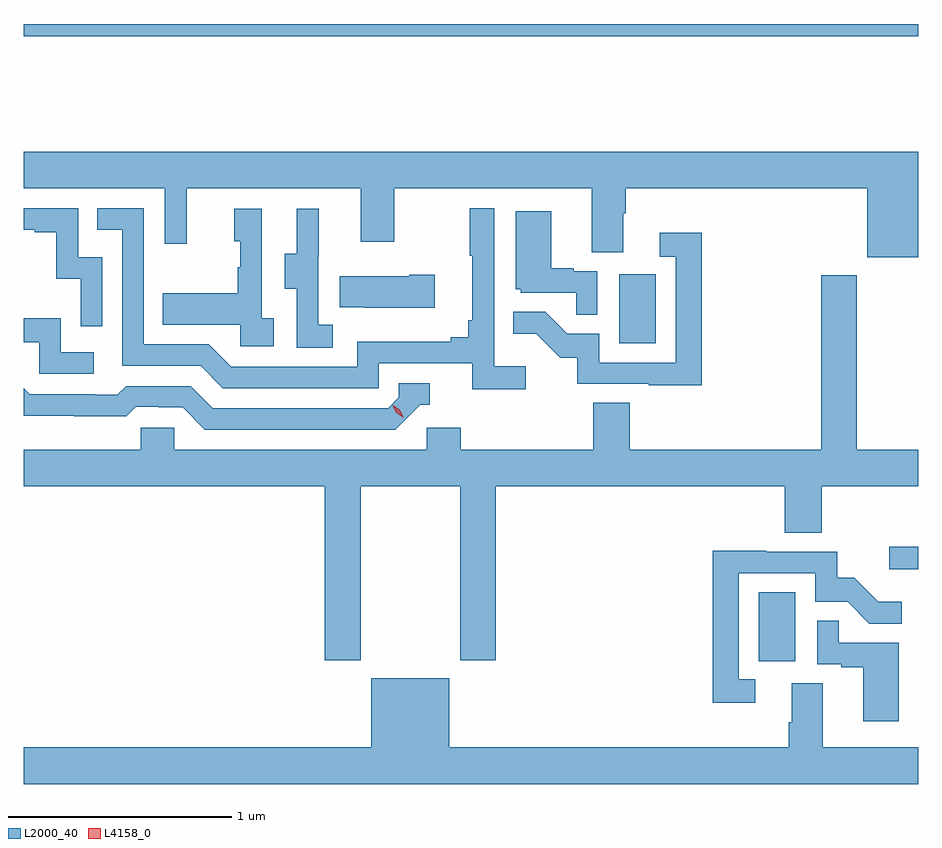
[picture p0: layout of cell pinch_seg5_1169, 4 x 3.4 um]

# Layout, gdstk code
import gdstk
lib = gdstk.Library(unit=1e-6, precision=1e-09)
def R(c, l, rs):  # rectangles x0, y0, x1, y1
    for r in rs: c.add(gdstk.rectangle(r[:2], r[2:], *l))
def P(c, l, *ps):  # polygons
    for p in ps: c.add(gdstk.Polygon(p, *l))
L2000_40 = (2000, 40)
L4158_0 = (4158, 0)

pinch_seg5_1169 = lib.new_cell('pinch_seg5_1169')
R(pinch_seg5_1169, L2000_40, [(858.182,849.318,858.346,849.625), (858.765,849.728,858.895,849.83), (857.558,850.74,857.722,851.047), (854.895,852.112,858.895,852.167)])
P(pinch_seg5_1169, L2000_40, [(858.895,851.596),(854.895,851.596),(854.895,851.432),(855.525,851.432),(855.525,851.184),(855.623,851.184),(855.623,851.432),(856.403,851.432),(856.403,851.193),(856.551,851.193),(856.551,851.432),(857.435,851.432),(857.435,851.146),(857.575,851.146),(857.575,851.32),(857.588,851.32),(857.588,851.432),(858.668,851.432),(858.668,851.123),(858.895,851.123)],
  [(857.14,850.636),(856.998,850.636),(856.998,851.344),(856.89,851.344),(856.89,851.131),(856.901,851.131),(856.901,850.843),(856.882,850.843),(856.882,850.766),(856.805,850.766),(856.805,850.747),(856.386,850.747),(856.386,850.635),(855.822,850.635),(855.723,850.734),(855.432,850.734),(855.432,851.343),(855.223,851.343),(855.223,851.247),(855.336,851.247),(855.336,850.638),(855.686,850.638),(855.785,850.539),(856.482,850.539),(856.482,850.65),(856.901,850.65),(856.901,850.534),(857.14,850.534)],
  [(855.246,851.124),(855.138,851.124),(855.138,851.343),(854.895,851.343),(854.895,851.247),(854.945,851.247),(854.945,851.235),(855.041,851.235),(855.041,851.027),(855.15,851.027),(855.15,850.815),(855.246,850.815)],
  [(856.012,850.85),(855.96,850.85),(855.96,851.341),(855.836,851.341),(855.836,851.196),(855.862,851.196),(855.862,851.078),(855.852,851.078),(855.852,850.963),(855.517,850.963),(855.517,850.823),(855.864,850.823),(855.864,850.725),(856.012,850.725)],
  [(856.276,850.823),(856.212,850.823),(856.212,851.127),(856.214,851.127),(856.214,851.341),(856.115,851.341),(856.115,851.139),(856.061,851.139),(856.061,850.984),(856.116,850.984),(856.116,850.72),(856.276,850.72)],
  [(857.46,851.061),(857.354,851.061),(857.354,851.074),(857.254,851.074),(857.254,851.329),(857.096,851.329),(857.096,850.98),(857.118,850.98),(857.118,850.965),(857.365,850.965),(857.365,850.867),(857.46,850.867)],
  [(857.927,851.233),(857.739,851.233),(857.739,851.127),(857.811,851.127),(857.811,850.653),(857.469,850.653),(857.469,850.782),(857.325,850.782),(857.227,850.88),(857.083,850.88),(857.083,850.781),(857.187,850.781),(857.294,850.674),(857.371,850.674),(857.371,850.557),(857.689,850.557),(857.689,850.552),(857.927,850.552)],
  [(856.732,851.046),(856.619,851.046),(856.619,851.038),(856.309,851.038),(856.309,850.901),(856.417,850.901),(856.417,850.898),(856.732,850.898)],
  [(856.401,850.1),(856.846,850.1),(856.846,849.321),(857.006,849.321),(857.006,850.1),(858.299,850.1),(858.299,849.892),(858.464,849.892),(858.464,850.1),(858.895,850.1),(858.895,850.264),(858.621,850.264),(858.621,851.044),(858.461,851.044),(858.461,850.264),(857.606,850.264),(857.606,850.472),(857.441,850.472),(857.441,850.264),(856.85,850.264),(856.85,850.362),(856.698,850.362),(856.698,850.264),(855.567,850.264),(855.567,850.362),(855.417,850.362),(855.417,850.264),(854.895,850.264),(854.895,850.1),(856.241,850.1),(856.241,849.321),(856.401,849.321)],
  [(855.208,850.698),(855.06,850.698),(855.06,850.852),(854.895,850.852),(854.895,850.743),(854.964,850.743),(854.964,850.602),(855.208,850.602)],
  [(856.668,850.464),(856.711,850.464),(856.711,850.56),(856.572,850.56),(856.572,850.497),(856.524,850.449),(855.741,850.449),(855.642,850.548),(855.353,850.548),(855.314,850.509),(855.215,850.509),(855.215,850.512),(854.922,850.512),(854.895,850.539),(854.895,850.415),(855.12,850.415),(855.12,850.413),(855.353,850.413),(855.395,850.455),(855.498,850.455),(855.498,850.452),(855.605,850.452),(855.704,850.353),(856.557,850.353)],
  [(858.166,849.237),(858.093,849.237),(858.093,849.711),(858.435,849.711),(858.435,849.582),(858.579,849.582),(858.677,849.484),(858.821,849.484),(858.821,849.583),(858.717,849.583),(858.61,849.69),(858.534,849.69),(858.534,849.807),(858.215,849.807),(858.215,849.812),(857.977,849.812),(857.977,849.132),(858.166,849.132)],
  [(858.808,849.399),(858.539,849.399),(858.539,849.497),(858.444,849.497),(858.444,849.303),(858.551,849.303),(858.551,849.291),(858.65,849.291),(858.65,849.048),(858.808,849.048)],
  [(856.448,849.241),(856.448,848.932),(854.895,848.932),(854.895,848.768),(858.895,848.768),(858.895,848.932),(858.469,848.932),(858.469,849.218),(858.329,849.218),(858.329,849.044),(858.317,849.044),(858.317,848.932),(856.798,848.932),(856.798,849.241)])
P(pinch_seg5_1169, L4158_0, [(856.592,850.408),(856.561,850.428),(856.546,850.461),(856.546,850.462),(856.546,850.462),(856.577,850.441),(856.592,850.408),(856.592,850.408)])

lib.write_gds('pinch_seg5_1169.gds')
